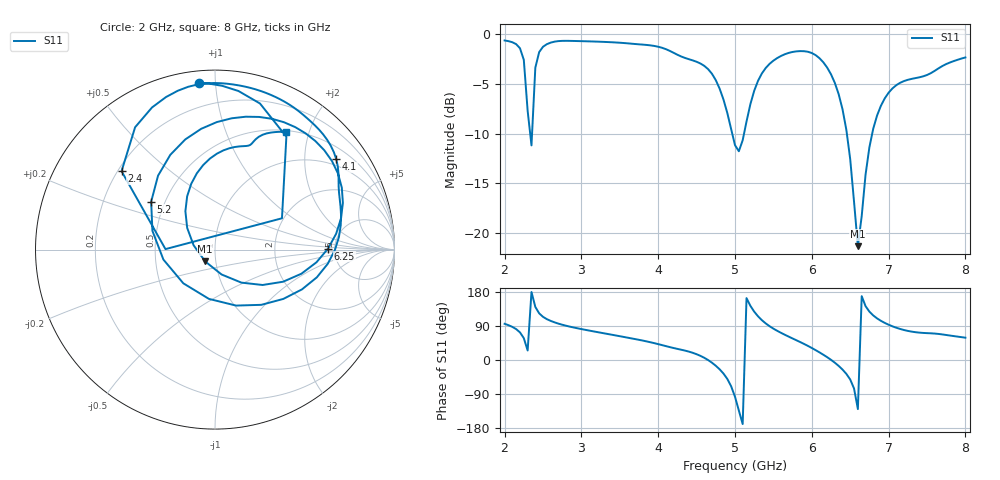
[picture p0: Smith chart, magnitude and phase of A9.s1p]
! Generated by Hertzon (EMerge FEM)
# HZ S RI R 50
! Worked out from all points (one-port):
!   121 points, 2 GHz to 8 GHz, reference 50 ohm
!   lowest |S11| = -21.3 dB at 6.6 GHz (marker M1), VSWR 1.19, Z = 44.5 - j5.92 ohm
!   |S11| at or under -10 dB: 2.333 GHz to 2.358 GHz (24.59 MHz wide, 1.05 % of centre); 4.964 GHz to 5.118 GHz (153.6 MHz wide, 3.05 % of centre); 6.457 GHz to 6.787 GHz (330.1 MHz wide, 4.99 % of centre)
!   S11 on the Smith chart (normalised r, x): 2 GHz: 0.06, +0.91; 2.4 GHz: 0.21, +0.35; 4.1 GHz: 0.81, +2.81; 5.2 GHz: 0.42, +0.28; 6.25 GHz: 4.40, +0.08; 8 GHz: 0.52, +1.65
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2e9  -0.0896 0.9278
2.2e9  0.2507 0.8139
2.25e9  0.3977 0.6292
2.3e9  0.3731 0.1745
2.35e9  -0.2759 0.0027
2.4e9  -0.5206 0.4368
2.45e9  -0.4451 0.6817
2.5e9  -0.3507 0.7922
2.75e9  -0.0498 0.9262
3.5e9  0.415 0.8074
4.1e9  0.6758 0.5033
4.25e9  0.6885 0.3868
4.7e9  0.6284 -0.0788
4.9e9  0.2581 -0.3077
5e9  -0.0338 -0.2746
5.1e9  -0.2876 -0.0554
5.2e9  -0.3556 0.2671
5.4e9  -0.0772 0.6728
5.75e9  0.447 0.6824
6.05e9  0.7066 0.3447
6.25e9  0.6296 0.00516
6.4e9  0.3795 -0.1789
6.5e9  0.1471 -0.184
6.6e9  -0.0545 -0.0661
6.75e9  -0.1649 0.2139
6.85e9  -0.1322 0.3673
7.25e9  0.1348 0.5748
8e9  0.3962 0.6547
